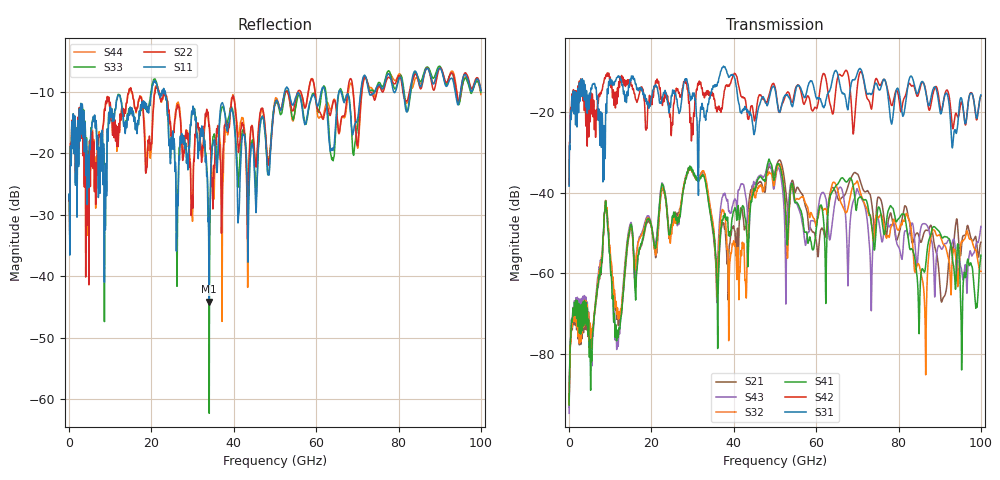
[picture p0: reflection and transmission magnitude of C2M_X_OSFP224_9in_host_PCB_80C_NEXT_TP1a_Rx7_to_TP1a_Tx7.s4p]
# GHz S RI R 45
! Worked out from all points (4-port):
!   4000 points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, 25 MHz to 100 GHz, reference 45 ohm
!   strongest paths, dB at 25 MHz, 25.02 GHz, 50.02 GHz, 75.03 GHz, 100 GHz:
!     S31: -38.4, -15.8, -14.3, -13.9, -15.7
!     S42: -38.0, -22.6, -13.7, -12.5, -15.9
!     S41: -92.7, -46.4, -35.7, -43.8, -55.5
!     S32: -92.5, -48.9, -36.6, -46.3, -59.5
!     S43: -94.7, -47.7, -37.2, -46.2, -48.4
!     S21: -93.3, -47.1, -34.8, -41.1, -52.3
!   lowest |S11| = -44.2 dB at 33.98 GHz (marker M1), VSWR 1.01, Z = 45.5 - j0.146 ohm
!   |S11| at or under -10 dB: start of sweep to 20.07 GHz; 23.39 GHz to 52.34 GHz (28.96 GHz wide, 76.5 % of centre); 53.41 GHz to 61.19 GHz (7.774 GHz wide, 13.6 % of centre) (the widest 3 of 12)
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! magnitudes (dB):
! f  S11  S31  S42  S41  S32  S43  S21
! 25 MHz  -27.5  -38.4  -38.0  -92.7  -92.5  -94.7  -93.3
! 5.4 GHz  -16.3  -14.1  -16.8  -79.2  -73.9  -77.3  -75.1
! 8.925 GHz  -23.3  -18.8  -10.8  -42.3  -42.1  -42.1  -42.3
! 11.65 GHz  -11.1  -11.4  -16.3  -75.1  -69.9  -76.7  -71.3
! 14.82 GHz  -12.7  -11.9  -12.8  -48.6  -48.6  -47.9  -49.2
! 33.98 GHz  -44.2  -17.0  -15.4  -42.9  -41.5  -41.8  -42.7
! 100 GHz  -9.8  -15.7  -15.9  -55.5  -59.5  -48.4  -52.3
